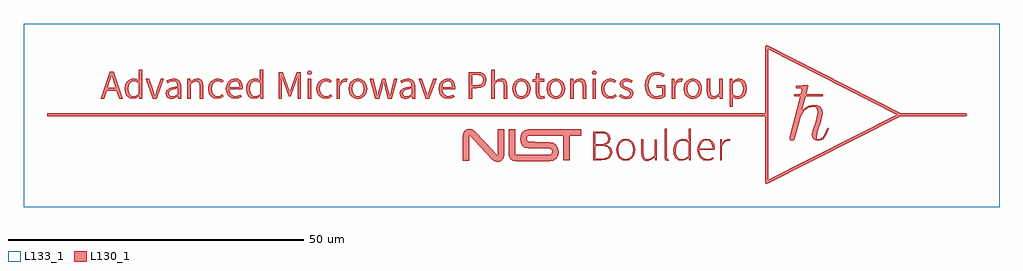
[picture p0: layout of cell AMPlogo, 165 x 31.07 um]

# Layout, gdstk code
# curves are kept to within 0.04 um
import gdstk
lib = gdstk.Library(unit=1e-6, precision=1e-09)
def R(c, l, rs):  # rectangles x0, y0, x1, y1
    for r in rs: c.add(gdstk.rectangle(r[:2], r[2:], *l))
def P(c, l, *ps):  # polygons
    for p in ps: c.add(gdstk.Polygon(p, *l))
L130_1 = (130, 1)
L133_1 = (133, 1)

amplogo = lib.new_cell('AMPlogo')
R(amplogo, L130_1, [(-11.923,2.847,-11.368,6.181), (36.204,2.847,36.76,6.181)])
P(amplogo, L130_1, [(65.772,-11.544),(65.514,-11.534),(65.388,-11.308),(65.388,-0.117),(-55.966,-0.117),(-55.966,0.412),(65.388,0.412),(65.388,11.173),(65.917,11.173),(65.917,-10.877),(87.637,0.148),(65.917,11.173),(65.388,11.173),(65.388,11.605),(65.597,11.863),(65.772,11.841),(88.285,0.412),(99.281,0.412),(99.468,0.335),(99.545,0.148),(99.468,-0.039),(99.281,-0.117),(88.284,-0.117)],
  [(-24.2,2.794),(-24.816,2.895),(-25.321,3.227),(-25.662,3.772),(-25.788,4.513),(-25.66,5.248),(-25.317,5.81),(-24.253,5.81),(-24.888,5.542),(-25.102,5.218),(-25.206,4.778),(-23.433,4.778),(-23.645,5.542),(-23.902,5.742),(-24.253,5.81),(-25.317,5.81),(-24.839,6.162),(-24.28,6.287),(-23.716,6.177),(-23.301,5.863),(-23.044,5.371),(-22.957,4.725),(-22.983,4.408),(-25.232,4.408),(-25.125,3.925),(-24.895,3.558),(-24.555,3.325),(-24.121,3.244),(-23.3,3.508),(-23.089,3.138),(-23.575,2.896)],
  [(49.592,2.821),(49.592,6.181),(50.015,6.181),(50.068,5.572),(50.521,6.075),(51.047,6.26),(51.417,6.181),(51.312,5.678),(50.994,5.731),(50.551,5.556),(50.148,4.964),(50.148,2.821)],
  [(-46.928,2.847),(-45.564,6.868),(-45.102,6.868),(-45.764,4.673),(-44.414,4.673),(-45.076,6.868),(-45.564,6.868),(-45.393,7.371),(-44.758,7.371),(-43.224,2.847),(-43.832,2.847),(-44.282,4.223),(-45.922,4.223),(-46.346,2.847)],
  [(59.355,1.444),(59.355,6.181),(59.805,6.181),(59.858,5.784),(60.784,5.81),(60.354,5.694),(59.884,5.36),(59.884,3.614),(60.324,3.343),(60.705,3.27),(61.088,3.346),(61.389,3.601),(61.586,4.014),(61.657,4.567),(61.459,5.466),(61.188,5.72),(60.784,5.81),(59.922,5.81),(60.374,6.121),(60.942,6.26),(61.506,6.141),(61.921,5.8),(62.178,5.267),(62.265,4.567),(62.146,3.806),(61.825,3.24),(61.361,2.889),(60.81,2.767),(60.347,2.867),(59.884,3.164),(59.911,1.444)],
  [(39.194,2.794),(38.582,2.895),(38.086,3.227),(37.754,3.772),(37.633,4.513),(37.762,5.259),(38.112,5.817),(38.626,6.166),(39.247,6.287),(39.816,6.167),(40.226,5.89),(39.935,5.519),(39.634,5.724),(39.274,5.81),(38.851,5.715),(38.516,5.45),(38.295,5.04),(38.215,4.513),(38.291,3.991),(38.503,3.591),(38.829,3.334),(39.247,3.244),(39.683,3.346),(40.04,3.587),(40.279,3.217),(39.776,2.906)],
  [(41.866,2.741),(41.208,2.89),(40.649,3.217),(40.94,3.587),(41.39,3.3),(41.919,3.191),(42.419,3.346),(42.581,3.72),(42.336,4.117),(41.132,4.692),(40.898,4.95),(40.808,5.307),(40.885,5.679),(41.109,5.982),(41.467,6.186),(41.946,6.26),(42.531,6.144),(42.978,5.89),(42.713,5.519),(42.349,5.734),(41.946,5.81),(41.483,5.661),(41.337,5.334),(41.569,4.983),(42.759,4.418),(42.993,4.146),(43.083,3.747),(43.005,3.355),(42.772,3.035),(42.391,2.82)],
  [(-8.907,2.794),(-9.531,2.895),(-10.025,3.227),(-10.351,3.772),(-10.468,4.513),(-10.339,5.259),(-9.989,5.817),(-9.475,6.166),(-8.854,6.287),(-8.285,6.167),(-7.875,5.89),(-8.166,5.519),(-8.467,5.724),(-8.828,5.81),(-9.25,5.715),(-9.585,5.45),(-9.806,5.04),(-9.886,4.513),(-9.811,3.991),(-9.598,3.591),(-9.272,3.334),(-8.854,3.244),(-8.418,3.346),(-8.06,3.587),(-7.822,3.217),(-8.325,2.906)],
  [(4.534,2.767),(3.859,3.015),(3.656,3.314),(3.581,3.72),(3.702,4.204),(4.159,4.593),(5.645,4.593),(4.474,4.279),(4.216,4.039),(4.137,3.747),(4.309,3.343),(4.719,3.217),(5.182,3.333),(5.645,3.667),(5.645,4.593),(4.159,4.593),(4.708,4.806),(5.618,4.964),(5.483,5.546),(5.272,5.737),(4.93,5.81),(4.378,5.694),(3.925,5.44),(3.713,5.836),(4.286,6.128),(5.036,6.26),(5.564,6.16),(5.926,5.88),(6.134,5.445),(6.201,4.884),(6.201,2.847),(5.724,2.847),(5.645,3.244),(5.129,2.906)],
  [(-7.055,2.821),(-7.055,6.181),(-6.632,6.181),(-6.579,5.572),(-6.126,6.075),(-5.6,6.26),(-5.23,6.181),(-5.336,5.678),(-5.653,5.731),(-6.096,5.556),(-6.499,4.964),(-6.499,2.821)],
  [(29.986,2.767),(29.412,2.884),(28.921,3.224),(28.58,3.772),(28.452,4.513),(28.58,5.259),(28.917,5.81),(30.013,5.81),(29.619,5.715),(29.318,5.45),(29.127,5.04),(29.06,4.513),(29.131,3.991),(29.328,3.591),(29.63,3.334),(30.013,3.244),(30.407,3.323),(30.708,3.581),(30.899,3.988),(30.966,4.513),(30.895,5.04),(30.698,5.45),(30.396,5.715),(30.013,5.81),(28.917,5.81),(29.412,6.166),(29.986,6.287),(30.576,6.169),(31.074,5.827),(31.419,5.27),(31.547,4.513),(31.419,3.772),(31.074,3.224),(30.576,2.884)],
  [(36.284,-7.604),(36.284,-5.144),(36.628,-5.144),(36.628,-7.313),(37.606,-7.313),(38.263,-7.247),(38.754,-7.042),(39.061,-6.688),(39.168,-6.175),(39.061,-5.713),(38.754,-5.392),(38.263,-5.204),(37.606,-5.144),(36.284,-5.144),(36.284,-2.974),(36.628,-2.974),(36.628,-4.852),(37.474,-4.852),(38.117,-4.789),(38.552,-4.608),(38.799,-4.317),(38.877,-3.926),(38.788,-3.487),(38.526,-3.192),(38.095,-3.026),(37.5,-2.974),(36.284,-2.974),(36.284,-2.709),(37.606,-2.709),(38.272,-2.78),(38.78,-2.997),(39.106,-3.368),(39.22,-3.9),(39.025,-4.568),(38.453,-4.985),(39.22,-5.362),(39.435,-5.714),(39.511,-6.175),(39.382,-6.8),(39.015,-7.247),(38.44,-7.515),(37.686,-7.604)],
  [(-41.504,2.794),(-42.076,2.895),(-42.509,3.227),(-42.784,3.772),(-42.879,4.513),(-42.76,5.248),(-42.453,5.784),(-41.345,5.784),(-41.717,5.689),(-42.02,5.426),(-42.223,5.024),(-42.298,4.513),(-42.235,3.98),(-42.053,3.581),(-41.762,3.331),(-41.372,3.244),(-40.948,3.35),(-40.525,3.693),(-40.525,5.44),(-40.935,5.711),(-41.345,5.784),(-42.453,5.784),(-41.975,6.162),(-41.424,6.287),(-40.922,6.187),(-40.498,5.89),(-40.525,7.768),(-39.943,7.768),(-39.943,2.873),(-40.419,2.873),(-40.498,3.27),(-40.951,2.933)],
  [(7.973,2.847),(6.783,6.181),(7.364,6.181),(7.999,4.276),(8.317,3.297),(8.344,3.297),(8.635,4.276),(9.27,6.181),(9.825,6.181),(8.635,2.847)],
  [(47.105,2.715),(46.284,2.901),(45.64,3.369),(45.218,4.106),(45.067,5.096),(45.223,6.074),(45.653,6.806),(46.307,7.265),(47.131,7.424),(47.919,7.245),(48.428,6.868),(48.11,6.498),(47.71,6.799),(47.131,6.922),(46.52,6.793),(46.053,6.425),(45.755,5.85),(45.65,5.096),(45.748,4.327),(46.037,3.743),(46.509,3.373),(47.158,3.244),(47.978,3.508),(47.978,4.673),(47.025,4.673),(47.025,5.149),(48.507,5.149),(48.507,3.244),(47.925,2.87)],
  [(24.165,2.767),(23.58,2.884),(23.091,3.224),(22.756,3.772),(22.631,4.513),(22.759,5.259),(23.097,5.81),(24.192,5.81),(23.798,5.715),(23.498,5.45),(23.306,5.04),(23.239,4.513),(23.31,3.991),(23.507,3.591),(23.809,3.334),(24.192,3.244),(24.576,3.323),(24.877,3.581),(25.074,3.988),(25.145,4.513),(25.074,5.04),(24.877,5.45),(24.576,5.715),(24.192,5.81),(23.097,5.81),(23.591,6.166),(24.165,6.287),(24.755,6.169),(25.254,5.827),(25.598,5.27),(25.727,4.513),(25.598,3.772),(25.254,3.224),(24.755,2.884)],
  [(56.524,2.767),(56.077,2.851),(55.763,3.098),(55.579,3.504),(55.518,4.064),(55.518,6.181),(56.101,6.181),(56.101,4.143),(56.25,3.456),(56.736,3.244),(57.196,3.383),(57.635,3.799),(57.635,6.181),(58.191,6.181),(58.191,2.847),(57.715,2.847),(57.635,3.376),(57.139,2.933)],
  [(23.213,-7.763),(22.748,-7.67),(22.37,-7.419),(22.115,-7.049),(22.022,-6.599),(22.022,-2.286),(23.134,-2.286),(23.134,-6.599),(23.213,-6.652),(29.007,-6.652),(29.222,-6.565),(29.332,-6.374),(29.378,-6.096),(29.322,-5.795),(29.007,-5.593),(25.303,-5.567),(24.773,-5.445),(24.354,-5.107),(24.079,-4.596),(23.98,-3.953),(24.056,-3.384),(24.271,-2.895),(24.744,-2.465),(25.356,-2.312),(34.326,-2.312),(34.326,-3.424),(32.367,-3.424),(32.367,-7.604),(31.256,-7.604),(31.256,-3.424),(25.356,-3.424),(25.197,-3.529),(25.091,-3.953),(25.158,-4.304),(25.303,-4.455),(28.981,-4.482),(29.581,-4.604),(30.049,-4.942),(30.354,-5.453),(30.463,-6.096),(30.366,-6.758),(30.063,-7.287),(29.596,-7.636),(29.007,-7.763)],
  [(15.276,2.821),(15.276,6.895),(15.884,6.895),(15.884,5.096),(16.546,5.096),(17.426,5.321),(17.64,5.609),(17.71,6.022),(17.636,6.437),(17.412,6.706),(16.519,6.895),(15.276,6.895),(15.276,7.345),(16.572,7.345),(17.261,7.276),(17.796,7.05),(18.142,6.642),(18.266,6.022),(18.146,5.401),(17.809,4.963),(17.283,4.705),(16.598,4.619),(15.858,4.619),(15.858,2.821)],
  [(53.137,2.767),(52.563,2.884),(52.072,3.224),(51.731,3.772),(51.603,4.513),(51.731,5.259),(52.068,5.81),(53.164,5.81),(52.77,5.715),(52.469,5.45),(52.278,5.04),(52.211,4.513),(52.282,3.991),(52.479,3.591),(52.781,3.334),(53.164,3.244),(53.547,3.323),(53.849,3.581),(54.046,3.988),(54.117,4.513),(54.046,5.04),(53.849,5.45),(53.547,5.715),(53.164,5.81),(52.068,5.81),(52.563,6.166),(53.137,6.287),(53.727,6.169),(54.225,5.827),(54.57,5.27),(54.698,4.513),(54.57,3.772),(54.225,3.224),(53.727,2.884)],
  [(27.526,2.767),(27.076,2.848),(26.782,3.075),(26.574,3.879),(26.574,5.731),(26.071,5.731),(26.071,6.154),(26.6,6.181),(26.679,7.107),(27.155,7.107),(27.155,6.181),(28.055,6.181),(28.055,5.731),(27.155,5.731),(27.155,3.879),(27.268,3.403),(27.658,3.244),(28.029,3.323),(28.134,2.9)],
  [(-16.845,2.821),(-16.845,7.345),(-16.183,7.345),(-14.993,3.984),(-13.802,7.345),(-13.114,7.345),(-13.114,2.821),(-13.643,2.821),(-13.643,5.307),(-13.564,6.63),(-14.807,3.27),(-15.178,3.27),(-16.421,6.63),(-16.342,5.307),(-16.342,2.821)],
  [(-20.999,2.794),(-21.56,2.895),(-21.994,3.227),(-22.275,3.772),(-22.374,4.513),(-22.255,5.248),(-21.947,5.784),(-20.814,5.784),(-21.186,5.689),(-21.488,5.426),(-21.692,5.024),(-21.766,4.513),(-21.703,3.98),(-21.521,3.581),(-21.23,3.331),(-20.84,3.244),(-20.417,3.35),(-19.993,3.693),(-19.993,5.44),(-20.403,5.711),(-20.814,5.784),(-21.947,5.784),(-21.47,6.162),(-20.919,6.287),(-20.416,6.187),(-19.993,5.89),(-20.02,7.768),(-19.438,7.768),(-19.438,2.873),(-19.914,2.873),(-19.993,3.27),(-20.446,2.933)],
  [(-11.632,6.868),(-11.92,6.974),(-12.029,7.239),(-11.91,7.504),(-11.632,7.609),(-11.355,7.513),(-11.235,7.239),(-11.345,6.974)],
  [(19.112,2.847),(19.112,7.742),(19.694,7.742),(19.667,5.731),(20.174,6.118),(20.779,6.287),(21.237,6.203),(21.55,5.956),(21.728,5.55),(21.784,4.99),(21.784,2.873),(21.229,2.873),(21.229,4.91),(21.08,5.598),(20.594,5.81),(20.131,5.674),(19.667,5.281),(19.667,2.847)],
  [(20.17,-7.869),(19.664,-7.769),(19.218,-7.472),(15.514,-3.424),(15.355,-3.344),(15.329,-7.63),(14.217,-7.63),(14.217,-3.424),(14.406,-2.726),(14.932,-2.286),(15.37,-2.204),(15.86,-2.317),(16.308,-2.63),(19.985,-6.652),(20.197,-6.731),(20.197,-2.286),(21.308,-2.286),(21.308,-6.704),(21.126,-7.343),(20.647,-7.763)],
  [(51.312,-7.684),(50.716,-7.561),(50.257,-7.201),(49.961,-6.612),(49.857,-5.805),(49.986,-5.032),(50.333,-4.439),(50.593,-4.244),(51.471,-4.244),(50.975,-4.366),(50.581,-4.701),(50.321,-5.204),(50.227,-5.832),(50.305,-6.477),(50.531,-6.969),(50.897,-7.283),(51.391,-7.393),(51.957,-7.24),(52.503,-6.81),(52.503,-4.694),(51.977,-4.34),(51.471,-4.244),(50.593,-4.244),(50.839,-4.06),(51.444,-3.926),(52.007,-4.042),(52.529,-4.376),(52.503,-2.26),(52.82,-2.26),(52.82,-7.578),(52.529,-7.578),(52.476,-7.128),(51.963,-7.515)],
  [(41.813,-7.657),(41.208,-7.547),(40.702,-7.188),(40.355,-6.601),(40.226,-5.805),(40.355,-5.009),(40.702,-4.419),(40.979,-4.218),(41.813,-4.218),(41.318,-4.332),(40.924,-4.654),(40.663,-5.155),(40.57,-5.805),(40.663,-6.44),(40.924,-6.933),(41.318,-7.252),(41.813,-7.366),(42.313,-7.267),(42.716,-6.953),(42.985,-6.455),(43.083,-5.805),(42.989,-5.155),(42.726,-4.654),(42.324,-4.332),(41.813,-4.218),(40.979,-4.218),(41.208,-4.052),(41.813,-3.926),(42.419,-4.052),(42.925,-4.419),(43.272,-5.009),(43.401,-5.805),(43.272,-6.597),(42.925,-7.178),(42.419,-7.535)],
  [(36.495,6.868),(36.218,6.974),(36.099,7.239),(36.208,7.504),(36.495,7.609),(36.783,7.513),(36.892,7.239),(36.773,6.974)],
  [(69.912,-4.297),(69.654,-4.221),(69.515,-3.926),(69.568,-3.609),(71.288,3.244),(70.289,3.264),(70.203,3.402),(70.316,3.564),(71.367,3.587),(71.553,4.381),(71.46,4.55),(70.663,4.639),(70.573,4.778),(70.666,5.013),(70.838,5.07),(72.479,5.202),(72.664,5.043),(72.293,3.614),(74.78,3.614),(75.091,3.591),(75.204,3.429),(75.098,3.29),(74.833,3.27),(72.24,3.27),(71.605,0.783),(72.18,1.335),(72.727,1.646),(73.59,1.815),(74.22,1.725),(74.704,1.454),(75.015,1),(75.125,0.36),(74.794,-1.171),(74.304,-2.603),(74.066,-3.556),(74.139,-3.89),(74.41,-4.006),(74.725,-3.939),(75.084,-3.688),(75.444,-3.18),(75.759,-2.339),(75.971,-2.101),(76.07,-2.118),(76.13,-2.233),(75.733,-3.295),(75.192,-3.986),(74.823,-4.211),(74.383,-4.297),(73.953,-4.22),(73.6,-3.999),(73.36,-3.65),(73.272,-3.186),(73.431,-2.524),(73.944,-1.066),(74.278,0.572),(74.139,1.203),(73.921,1.416),(73.563,1.498),(72.67,1.275),(72.012,0.767),(71.393,-0.143),(70.415,-3.926),(70.243,-4.181)],
  [(48.825,-7.657),(48.514,-7.538),(48.402,-7.101),(48.402,-2.26),(48.719,-2.26),(48.719,-7.155),(48.878,-7.393),(49.01,-7.366),(49.063,-7.63)],
  [(-32.296,2.821),(-32.296,6.181),(-31.82,6.181),(-31.767,5.704),(-31.235,6.101),(-30.63,6.26),(-30.171,6.177),(-29.859,5.929),(-29.681,5.523),(-29.624,4.964),(-29.624,2.847),(-30.18,2.847),(-30.18,4.884),(-30.328,5.572),(-30.815,5.784),(-31.278,5.648),(-31.741,5.255),(-31.741,2.821)],
  [(55.572,-7.657),(54.909,-7.543),(54.381,-7.178),(54.031,-6.589),(53.905,-5.805),(54.037,-5.021),(54.388,-4.429),(54.67,-4.218),(55.466,-4.218),(55.03,-4.31),(54.659,-4.578),(54.387,-5.01),(54.249,-5.593),(56.498,-5.593),(56.426,-4.999),(56.22,-4.568),(55.895,-4.306),(55.466,-4.218),(54.67,-4.218),(54.887,-4.056),(55.466,-3.926),(56.038,-4.038),(56.471,-4.36),(56.746,-4.875),(56.841,-5.567),(56.815,-5.832),(54.249,-5.832),(54.355,-6.451),(54.626,-6.936),(55.045,-7.253),(55.598,-7.366),(56.124,-7.277),(56.55,-7.049),(56.683,-7.313),(56.207,-7.545)],
  [(-3.484,2.767),(-4.069,2.884),(-4.558,3.224),(-4.893,3.772),(-5.018,4.513),(-4.89,5.259),(-4.552,5.81),(-3.457,5.81),(-3.851,5.715),(-4.151,5.45),(-4.343,5.04),(-4.41,4.513),(-4.339,3.991),(-4.141,3.591),(-3.84,3.334),(-3.457,3.244),(-3.073,3.323),(-2.772,3.581),(-2.575,3.988),(-2.504,4.513),(-2.575,5.04),(-2.772,5.45),(-3.073,5.715),(-3.457,5.81),(-4.552,5.81),(-4.058,6.166),(-3.484,6.287),(-2.894,6.169),(-2.395,5.827),(-2.051,5.27),(-1.922,4.513),(-2.051,3.772),(-2.395,3.224),(-2.894,2.884)],
  [(57.767,-7.604),(57.767,-4.032),(58.059,-4.032),(58.085,-4.694),(58.545,-4.155),(59.117,-3.953),(59.461,-4.032),(59.382,-4.323),(59.064,-4.27),(58.565,-4.472),(58.085,-5.17),(58.085,-7.604)],
  [(-0.52,2.821),(-1.472,6.181),(-0.89,6.181),(-0.176,3.323),(0.618,6.181),(1.174,6.181),(1.94,3.323),(2.655,6.181),(3.184,6.181),(2.285,2.847),(1.597,2.847),(0.856,5.599),(0.142,2.821)],
  [(32.447,2.821),(32.447,6.181),(32.924,6.181),(32.976,5.704),(33.509,6.101),(34.114,6.26),(34.573,6.177),(34.885,5.929),(35.063,5.523),(35.119,4.964),(35.119,2.847),(34.564,2.847),(34.564,4.884),(34.415,5.572),(33.929,5.784),(33.466,5.648),(33.003,5.255),(33.003,2.821)],
  [(-38.117,2.847),(-39.308,6.181),(-38.726,6.181),(-38.091,4.276),(-37.773,3.297),(-37.747,3.297),(-37.456,4.276),(-36.821,6.181),(-36.265,6.181),(-37.456,2.847)],
  [(45.491,-7.71),(45.024,-7.61),(44.694,-7.346),(44.498,-6.914),(44.433,-6.308),(44.433,-4.032),(44.75,-4.032),(44.75,-6.281),(44.942,-7.125),(45.197,-7.327),(45.57,-7.393),(46.149,-7.224),(46.708,-6.678),(46.708,-4.059),(47.025,-4.059),(47.025,-7.604),(46.761,-7.604),(46.708,-7.022),(46.159,-7.515)],
  [(-35.022,2.767),(-35.696,3.015),(-35.9,3.314),(-35.974,3.72),(-35.853,4.204),(-35.396,4.593),(-33.911,4.593),(-35.081,4.279),(-35.339,4.039),(-35.418,3.747),(-35.247,3.343),(-34.837,3.217),(-34.364,3.333),(-33.911,3.667),(-33.911,4.593),(-35.396,4.593),(-34.847,4.806),(-33.937,4.964),(-34.072,5.546),(-34.283,5.737),(-34.625,5.81),(-35.177,5.694),(-35.63,5.44),(-35.842,5.836),(-35.27,6.128),(-34.519,6.26),(-33.991,6.16),(-33.629,5.88),(-33.421,5.445),(-33.355,4.884),(-33.355,2.847),(-33.831,2.847),(-33.911,3.244),(-34.426,2.906)],
  [(11.783,2.794),(11.167,2.895),(10.662,3.227),(10.321,3.772),(10.196,4.513),(10.323,5.248),(10.666,5.81),(11.704,5.81),(11.069,5.542),(10.855,5.218),(10.751,4.778),(12.524,4.778),(12.312,5.542),(12.055,5.742),(11.704,5.81),(10.666,5.81),(11.144,6.162),(11.704,6.287),(12.268,6.177),(12.683,5.863),(12.939,5.371),(13.027,4.725),(13,4.408),(10.751,4.408),(10.858,3.925),(11.089,3.558),(11.428,3.325),(11.862,3.244),(12.683,3.508),(12.894,3.138),(12.408,2.896)],
  [(-27.216,2.794),(-27.829,2.895),(-28.324,3.227),(-28.656,3.772),(-28.778,4.513),(-28.648,5.259),(-28.298,5.817),(-27.784,6.166),(-27.164,6.287),(-26.595,6.167),(-26.184,5.89),(-26.475,5.519),(-26.776,5.724),(-27.137,5.81),(-27.559,5.715),(-27.894,5.45),(-28.115,5.04),(-28.195,4.513),(-28.12,3.991),(-27.908,3.591),(-27.582,3.334),(-27.164,3.244),(-26.727,3.346),(-26.37,3.587),(-26.132,3.217),(-26.634,2.906)])
R(amplogo, L133_1, [(-60,-15.537,105,15.537)])
amplogo.add(gdstk.FlexPath([(36.628,-5.144),(36.628,-5.144)], 0, ends="flush", simple_path=True, layer=130, datatype=1))  # L130_1
amplogo.add(gdstk.FlexPath([(51.471,-4.244),(51.471,-4.244)], 0, ends="flush", simple_path=True, layer=130, datatype=1))  # L130_1
amplogo.add(gdstk.FlexPath([(41.813,-4.218),(41.813,-4.218)], 0, ends="flush", simple_path=True, layer=130, datatype=1))  # L130_1
amplogo.add(gdstk.FlexPath([(55.466,-4.218),(55.466,-4.218)], 0, ends="flush", simple_path=True, layer=130, datatype=1))  # L130_1
amplogo.add(gdstk.FlexPath([(44.433,-4.032),(44.433,-4.032)], 0, ends="flush", simple_path=True, layer=130, datatype=1))  # L130_1
amplogo.add(gdstk.FlexPath([(59.117,-3.953),(59.117,-3.953)], 0, ends="flush", simple_path=True, layer=130, datatype=1))  # L130_1
amplogo.add(gdstk.FlexPath([(41.813,-3.926),(41.813,-3.926)], 0, ends="flush", simple_path=True, layer=130, datatype=1))  # L130_1
amplogo.add(gdstk.FlexPath([(55.466,-3.926),(55.466,-3.926)], 0, ends="flush", simple_path=True, layer=130, datatype=1))  # L130_1
amplogo.add(gdstk.FlexPath([(36.628,-2.974),(36.628,-2.974)], 0, ends="flush", simple_path=True, layer=130, datatype=1))  # L130_1
amplogo.add(gdstk.FlexPath([(36.284,-2.709),(36.284,-2.709)], 0, ends="flush", simple_path=True, layer=130, datatype=1))  # L130_1
amplogo.add(gdstk.FlexPath([(48.402,-2.26),(48.402,-2.26)], 0, ends="flush", simple_path=True, layer=130, datatype=1))  # L130_1
amplogo.add(gdstk.FlexPath([(52.503,-2.26),(52.503,-2.26)], 0, ends="flush", simple_path=True, layer=130, datatype=1))  # L130_1
amplogo.add(gdstk.FlexPath([(5.645,4.593),(5.645,4.593)], 0, ends="flush", simple_path=True, layer=130, datatype=1))  # L130_1
amplogo.add(gdstk.FlexPath([(72.479,5.202),(72.479,5.202)], 0, ends="flush", simple_path=True, layer=130, datatype=1))  # L130_1
amplogo.add(gdstk.FlexPath([(-24.253,5.81),(-24.253,5.81)], 0, ends="flush", simple_path=True, layer=130, datatype=1))  # L130_1
amplogo.add(gdstk.FlexPath([(30.013,5.81),(30.013,5.81)], 0, ends="flush", simple_path=True, layer=130, datatype=1))  # L130_1
amplogo.add(gdstk.FlexPath([(53.164,5.81),(53.164,5.81)], 0, ends="flush", simple_path=True, layer=130, datatype=1))  # L130_1
amplogo.add(gdstk.FlexPath([(60.784,5.81),(60.784,5.81)], 0, ends="flush", simple_path=True, layer=130, datatype=1))  # L130_1
amplogo.add(gdstk.FlexPath([(-39.308,6.181),(-39.308,6.181)], 0, ends="flush", simple_path=True, layer=130, datatype=1))  # L130_1
amplogo.add(gdstk.FlexPath([(-11.923,6.181),(-11.923,6.181)], 0, ends="flush", simple_path=True, layer=130, datatype=1))  # L130_1
amplogo.add(gdstk.FlexPath([(-1.472,6.181),(-1.472,6.181)], 0, ends="flush", simple_path=True, layer=130, datatype=1))  # L130_1
amplogo.add(gdstk.FlexPath([(6.783,6.181),(6.783,6.181)], 0, ends="flush", simple_path=True, layer=130, datatype=1))  # L130_1
amplogo.add(gdstk.FlexPath([(36.204,6.181),(36.204,6.181)], 0, ends="flush", simple_path=True, layer=130, datatype=1))  # L130_1
amplogo.add(gdstk.FlexPath([(55.518,6.181),(55.518,6.181)], 0, ends="flush", simple_path=True, layer=130, datatype=1))  # L130_1
amplogo.add(gdstk.FlexPath([(-34.519,6.26),(-34.519,6.26)], 0, ends="flush", simple_path=True, layer=130, datatype=1))  # L130_1
amplogo.add(gdstk.FlexPath([(-30.63,6.26),(-30.63,6.26)], 0, ends="flush", simple_path=True, layer=130, datatype=1))  # L130_1
amplogo.add(gdstk.FlexPath([(5.036,6.26),(5.036,6.26)], 0, ends="flush", simple_path=True, layer=130, datatype=1))  # L130_1
amplogo.add(gdstk.FlexPath([(34.114,6.26),(34.114,6.26)], 0, ends="flush", simple_path=True, layer=130, datatype=1))  # L130_1
amplogo.add(gdstk.FlexPath([(41.946,6.26),(41.946,6.26)], 0, ends="flush", simple_path=True, layer=130, datatype=1))  # L130_1
amplogo.add(gdstk.FlexPath([(51.047,6.26),(51.047,6.26)], 0, ends="flush", simple_path=True, layer=130, datatype=1))  # L130_1
amplogo.add(gdstk.FlexPath([(60.942,6.26),(60.942,6.26)], 0, ends="flush", simple_path=True, layer=130, datatype=1))  # L130_1
amplogo.add(gdstk.FlexPath([(-27.164,6.287),(-27.164,6.287)], 0, ends="flush", simple_path=True, layer=130, datatype=1))  # L130_1
amplogo.add(gdstk.FlexPath([(-24.28,6.287),(-24.28,6.287)], 0, ends="flush", simple_path=True, layer=130, datatype=1))  # L130_1
amplogo.add(gdstk.FlexPath([(11.704,6.287),(11.704,6.287)], 0, ends="flush", simple_path=True, layer=130, datatype=1))  # L130_1
amplogo.add(gdstk.FlexPath([(24.165,6.287),(24.165,6.287)], 0, ends="flush", simple_path=True, layer=130, datatype=1))  # L130_1
amplogo.add(gdstk.FlexPath([(29.986,6.287),(29.986,6.287)], 0, ends="flush", simple_path=True, layer=130, datatype=1))  # L130_1
amplogo.add(gdstk.FlexPath([(39.247,6.287),(39.247,6.287)], 0, ends="flush", simple_path=True, layer=130, datatype=1))  # L130_1
amplogo.add(gdstk.FlexPath([(53.137,6.287),(53.137,6.287)], 0, ends="flush", simple_path=True, layer=130, datatype=1))  # L130_1
amplogo.add(gdstk.FlexPath([(15.884,6.895),(15.884,6.895)], 0, ends="flush", simple_path=True, layer=130, datatype=1))  # L130_1
amplogo.add(gdstk.FlexPath([(-16.845,7.345),(-16.845,7.345)], 0, ends="flush", simple_path=True, layer=130, datatype=1))  # L130_1
amplogo.add(gdstk.FlexPath([(15.276,7.345),(15.276,7.345)], 0, ends="flush", simple_path=True, layer=130, datatype=1))  # L130_1
amplogo.add(gdstk.FlexPath([(-45.393,7.371),(-45.393,7.371)], 0, ends="flush", simple_path=True, layer=130, datatype=1))  # L130_1
amplogo.add(gdstk.FlexPath([(47.131,7.424),(47.131,7.424)], 0, ends="flush", simple_path=True, layer=130, datatype=1))  # L130_1
amplogo.add(gdstk.FlexPath([(-11.632,7.609),(-11.632,7.609)], 0, ends="flush", simple_path=True, layer=130, datatype=1))  # L130_1
amplogo.add(gdstk.FlexPath([(36.495,7.609),(36.495,7.609)], 0, ends="flush", simple_path=True, layer=130, datatype=1))  # L130_1
amplogo.add(gdstk.FlexPath([(19.112,7.742),(19.112,7.742)], 0, ends="flush", simple_path=True, layer=130, datatype=1))  # L130_1
amplogo.add(gdstk.FlexPath([(65.917,11.173),(65.917,11.173)], 0, ends="flush", simple_path=True, layer=130, datatype=1))  # L130_1
amplogo.add(gdstk.FlexPath([(65.597,11.863),(65.597,11.863)], 0, ends="flush", simple_path=True, layer=130, datatype=1))  # L130_1

lib.write_gds('AMPlogo.gds')
